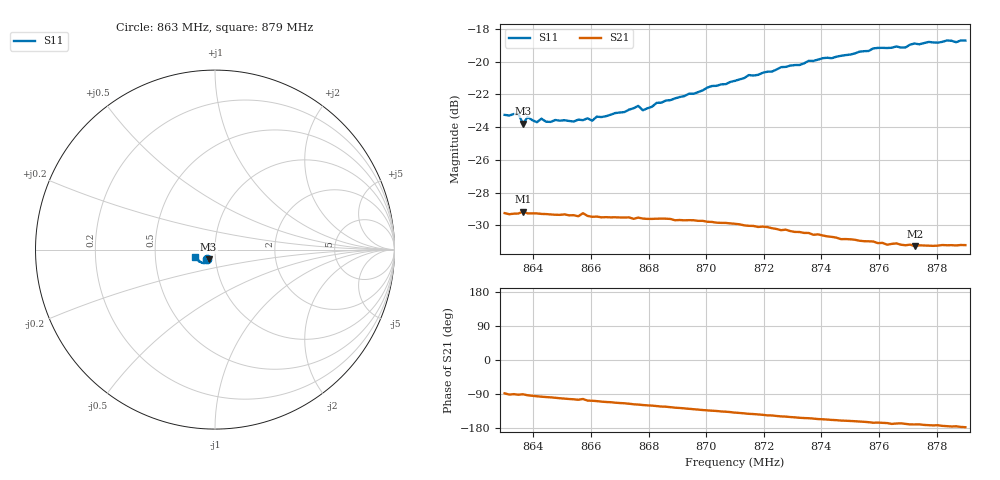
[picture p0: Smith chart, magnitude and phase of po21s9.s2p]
# HZ S RI R 50
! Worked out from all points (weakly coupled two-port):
!   101 points, 863 MHz to 879 MHz, reference 50 ohm
!   highest |S21| = -29.16 dB at 863.64 MHz (marker M1); lowest = -31.3 dB at 877.24 MHz (marker M2)
!   lowest |S11| = -23.8 dB at 863.64 MHz (marker M3), VSWR 1.14, Z = 46.3 - j5.02 ohm
!   |S11| at or under -10 dB: start of sweep to end of sweep
!   S12 and S22 are empty: the file has one direction only
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8.63e8  -0.0445 -0.0525  0.00119 -0.0345  0 0  0 0
8.6348e8  -0.0455 -0.052  -0.000955 -0.0344  0 0  0 0
8.6364e8  -0.0355 -0.054  -0.000277 -0.0348  0 0  0 0
8.638e8  -0.0414 -0.0537  -0.00188 -0.0344  0 0  0 0
8.6412e8  -0.0382 -0.053  -0.00344 -0.0343  0 0  0 0
8.6428e8  -0.0391 -0.0543  -0.00407 -0.034  0 0  0 0
8.646e8  -0.0376 -0.0536  -0.00508 -0.0338  0 0  0 0
8.6556e8  -0.0367 -0.0555  -0.00869 -0.0326  0 0  0 0
8.6572e8  -0.0328 -0.0576  -0.00768 -0.0336  0 0  0 0
8.6604e8  -0.0337 -0.0568  -0.0101 -0.032  0 0  0 0
8.662e8  -0.0354 -0.058  -0.0107 -0.0319  0 0  0 0
8.6716e8  -0.0346 -0.0611  -0.0137 -0.0305  0 0  0 0
8.6764e8  -0.0363 -0.0637  -0.0155 -0.0296  0 0  0 0
8.678e8  -0.0349 -0.0619  -0.016 -0.0291  0 0  0 0
8.6844e8  -0.037 -0.0652  -0.018 -0.0279  0 0  0 0
8.71e8  -0.0484 -0.0728  -0.0241 -0.021  0 0  0 0
8.7148e8  -0.0513 -0.0752  -0.0249 -0.0194  0 0  0 0
8.7372e8  -0.0681 -0.0739  -0.0267 -0.0127  0 0  0 0
8.758e8  -0.0889 -0.0644  -0.0274 -0.00702  0 0  0 0
8.7644e8  -0.0926 -0.0599  -0.0272 -0.00546  0 0  0 0
8.7724e8  -0.0985 -0.0566  -0.0269 -0.00471  0 0  0 0
8.79e8  -0.1089 -0.0399  -0.0275 -0.00125  0 0  0 0
